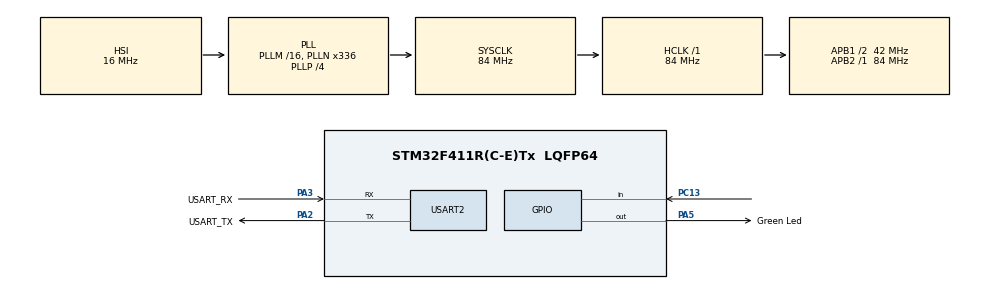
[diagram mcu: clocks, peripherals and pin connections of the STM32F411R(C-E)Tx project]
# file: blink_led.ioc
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Mcu.Family=STM32F4
Mcu.Name=STM32F411R(C-E)Tx
Mcu.Package=LQFP64
NVIC.PriorityGroup=NVIC_PRIORITYGROUP_0
PA13.GPIO_Label=TMS
PA13.Mode=Serial_Wire
PA13.Signal=SYS_JTMS-SWDIO
PA14.GPIO_Label=TCK
PA14.Mode=Serial_Wire
PA14.Signal=SYS_JTCK-SWCLK
PA2.GPIO_Label=USART_TX
PA2.Mode=Asynchronous
PA2.Signal=USART2_TX
PA3.GPIO_Label=USART_RX
PA3.Mode=Asynchronous
PA3.Signal=USART2_RX
PA5.GPIO_Label=Green Led
PA5.Signal=GPIO_Output
PB3.GPIO_Label=SWO
PB3.Signal=SYS_JTDO-SWO
PC13-ANTI_TAMP.Signal=GPIO_Input
PC14-OSC32_IN.Mode=LSE-External-Oscillator
PC14-OSC32_IN.Signal=RCC_OSC32_IN
PC15-OSC32_OUT.Mode=LSE-External-Oscillator
PC15-OSC32_OUT.Signal=RCC_OSC32_OUT
PH0\ -\ OSC_IN.Mode=HSE-External-Clock-Source
PH0\ -\ OSC_IN.Signal=RCC_OSC_IN
PH1\ -\ OSC_OUT.Mode=HSE-External-Clock-Source
PH1\ -\ OSC_OUT.Signal=RCC_OSC_OUT
ProjectManager.HeapSize=0x200
ProjectManager.StackSize=0x400
ProjectManager.TargetToolchain=STM32CubeIDE
RCC.48MHZClocksFreq_Value=84000000
RCC.AHBFreq_Value=84000000
RCC.APB1CLKDivider=RCC_HCLK_DIV2
RCC.APB1Freq_Value=42000000
RCC.APB1TimFreq_Value=84000000
RCC.APB2Freq_Value=84000000
RCC.APB2TimFreq_Value=84000000
RCC.CortexFreq_Value=84000000
RCC.FLatency-AdvancedSettings=FLASH_LATENCY_2
RCC.HCLKFreq_Value=84000000
RCC.HSE_VALUE=8000000
RCC.HSI_VALUE=16000000
RCC.PLLN=336
RCC.PLLP=RCC_PLLP_DIV4
RCC.SYSCLKFreq_VALUE=84000000
RCC.SYSCLKSource=RCC_SYSCLKSOURCE_PLLCLK
RCC.VCOOutputFreq_Value=336000000
USART2.VirtualMode=VM_ASYNC
board=NUCLEO-F411RE

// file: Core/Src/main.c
/* USER CODE BEGIN Header */
/**
  ******************************************************************************
  * @file           : main.c
  * @brief          : Main program body
  ******************************************************************************
  * @attention
  *
  * Copyright (c) 2026 STMicroelectronics.
  * All rights reserved.
  *
  * This software is licensed under terms that can be found in the LICENSE file
  * in the root directory of this software component.
  * If no LICENSE file comes with this software, it is provided AS-IS.
  *
  ******************************************************************************
  */
/* USER CODE END Header */
#include "main.h"
#include <stdio.h>
#include <string.h>
#include <stdarg.h>

UART_HandleTypeDef huart2;

/* USER CODE BEGIN PV */
char cumle[100] = "";
char mors_haznesi[10] = "";
uint32_t basma_an_ms = 0;
uint32_t birakma_an_ms = 0;
uint32_t basili_tutma_sure = 0;
int harf_eklendi = 0;
int kelime_eklendi = 0;

/* USER CODE END PV */

void SystemClock_Config(void);
static void MX_GPIO_Init(void);
static void MX_USART2_UART_Init(void);

/* USER CODE BEGIN 0 */
char mors_coz(char* semboller) {

    if (strcmp(semboller, ".-") == 0) return 'A';
    if (strcmp(semboller, "-...") == 0) return 'B';
    if (strcmp(semboller, "-.-.") == 0) return 'C';
    if (strcmp(semboller, "-..") == 0) return 'D';
    if (strcmp(semboller, ".") == 0) return 'E';
    if (strcmp(semboller, "..-.") == 0) return 'F';
    if (strcmp(semboller, "--.") == 0) return 'G';
    if (strcmp(semboller, "....") == 0) return 'H';
    if (strcmp(semboller, "..") == 0) return 'I';
    if (strcmp(semboller, ".---") == 0) return 'J';
    if (strcmp(semboller, "-.-") == 0) return 'K';
    if (strcmp(semboller, ".-..") == 0) return 'L';
    if (strcmp(semboller, "--") == 0) return 'M';
    if (strcmp(semboller, "-.") == 0) return 'N';
    if (strcmp(semboller, "---") == 0) return 'O';
    if (strcmp(semboller, ".--.") == 0) return 'P';
    if (strcmp(semboller, ".-.") == 0) return 'R';
    if (strcmp(semboller, "...") == 0) return 'S';
    if (strcmp(semboller, "-") == 0) return 'T';
    if (strcmp(semboller, "..-") == 0) return 'U';
    if (strcmp(semboller, "...-") == 0) return 'V';
    if (strcmp(semboller, "-.--") == 0) return 'Y';
    if (strcmp(semboller, "--..") == 0) return 'Z';

    return '?';
}

void uart_mesaj_gonder(char* format, ...) {
    char buf[128];
    va_list args;
    va_start(args, format);
    int len = vsnprintf(buf, sizeof(buf), format, args);
    HAL_UART_Transmit(&huart2, (uint8_t*)buf, len, 100);
    va_end(args);
}

/* USER CODE END 0 */

	int main(void)
	{

  /* MCU Configuration--------------------------------------------------------*/

  /* Reset of all peripherals, Initializes the Flash interface and the Systick. */
  HAL_Init();

  /* Configure the system clock */
  SystemClock_Config();

  /* Initialize all configured peripherals */
  MX_GPIO_Init();
  MX_USART2_UART_Init();

  /* Infinite loop */
  /* USER CODE BEGIN WHILE */
  while (1)
{

	      if (HAL_GPIO_ReadPin(GPIOC, GPIO_PIN_13) == GPIO_PIN_RESET)
	      {
	          basma_an_ms = HAL_GetTick();
	          HAL_GPIO_WritePin(GPIOA, GPIO_PIN_5, GPIO_PIN_SET);

	          while (HAL_GPIO_ReadPin(GPIOC, GPIO_PIN_13) == GPIO_PIN_RESET);

	          HAL_GPIO_WritePin(GPIOA, GPIO_PIN_5, GPIO_PIN_RESET);
	          birakma_an_ms = HAL_GetTick();
	          basili_tutma_sure = birakma_an_ms - basma_an_ms;

	          if (basili_tutma_sure < 500) {
	              strcat(mors_haznesi, ".");
	              uart_mesaj_gonder("[Sinyal: . | Sure: %lu ms]\r\n", basili_tutma_sure);
	          } else {
	              strcat(mors_haznesi, "-");
	              uart_mesaj_gonder("[Sinyal: - | Sure: %lu ms]\r\n", basili_tutma_sure);
	          }

	          harf_eklendi = 0; //yeni signal geldiginde, harf bekleme suresinin sifirlanmasi
	          kelime_eklendi = 0;
	          HAL_Delay(50);
	      }

	      uint32_t bosta_gecen = HAL_GetTick() - birakma_an_ms;

	      if (bosta_gecen > 3000 && birakma_an_ms != 0 && strlen(mors_haznesi) > 0 && !harf_eklendi)
	      {
	          char yeni_harf = mors_coz(mors_haznesi);
	          int len = strlen(cumle);
	          cumle[len] = yeni_harf;
	          cumle[len + 1] = '\0';

	          uart_mesaj_gonder("\r\n>> Harf Tamamlandi: %c (Mors: %s)\r\n", yeni_harf, mors_haznesi);
	          memset(mors_haznesi, 0, sizeof(mors_haznesi));
	          harf_eklendi = 1;
	      }

	      // 3. KELİME SONU KONTROLÜ (5 Saniye)
	      if (bosta_gecen > 1000 && birakma_an_ms != 0 && !kelime_eklendi && harf_eklendi)
	      {
	          strcat(cumle, " ");
	          uart_mesaj_gonder(">> Kelime Arasi: (Bosluk eklendi)\r\n");
	          kelime_eklendi = 1;
	      }

	      // 4. CÜMLE SONU VE YAZDIRMA (7 Saniye)
	      if (bosta_gecen > 7000 && birakma_an_ms != 0)
	      {
	          uart_mesaj_gonder("\r\n================================\r\n");
	          uart_mesaj_gonder("FINAL CUMLE: %s", cumle);
	          uart_mesaj_gonder("\r\n================================\r\n\r\n");

	          memset(cumle, 0, sizeof(cumle));
	          birakma_an_ms = 0; // Sistemi bekleme moduna al
	      }
    /* USER CODE END WHILE */

  }
}

void SystemClock_Config(void)
{
  RCC_OscInitTypeDef RCC_OscInitStruct = {0};
  RCC_ClkInitTypeDef RCC_ClkInitStruct = {0};

  /** Configure the main internal regulator output voltage
  */
  __HAL_RCC_PWR_CLK_ENABLE();
  __HAL_PWR_VOLTAGESCALING_CONFIG(PWR_REGULATOR_VOLTAGE_SCALE1);

  /** Initializes the RCC Oscillators according to the specified parameters
  * in the RCC_OscInitTypeDef structure.
  */
  RCC_OscInitStruct.OscillatorType = RCC_OSCILLATORTYPE_HSI;
  RCC_OscInitStruct.HSIState = RCC_HSI_ON;
  RCC_OscInitStruct.HSICalibrationValue = RCC_HSICALIBRATION_DEFAULT;
  RCC_OscInitStruct.PLL.PLLState = RCC_PLL_ON;
  RCC_OscInitStruct.PLL.PLLSource = RCC_PLLSOURCE_HSI;
  RCC_OscInitStruct.PLL.PLLM = 16;
  RCC_OscInitStruct.PLL.PLLN = 336;
  RCC_OscInitStruct.PLL.PLLP = RCC_PLLP_DIV4;
  RCC_OscInitStruct.PLL.PLLQ = 4;
  if (HAL_RCC_OscConfig(&RCC_OscInitStruct) != HAL_OK)
  {
    Error_Handler();
  }

  /** Initializes the CPU, AHB and APB buses clocks
  */
  RCC_ClkInitStruct.ClockType = RCC_CLOCKTYPE_HCLK|RCC_CLOCKTYPE_SYSCLK
                              |RCC_CLOCKTYPE_PCLK1|RCC_CLOCKTYPE_PCLK2;
  RCC_ClkInitStruct.SYSCLKSource = RCC_SYSCLKSOURCE_PLLCLK;
  RCC_ClkInitStruct.AHBCLKDivider = RCC_SYSCLK_DIV1;
  RCC_ClkInitStruct.APB1CLKDivider = RCC_HCLK_DIV2;
  RCC_ClkInitStruct.APB2CLKDivider = RCC_HCLK_DIV1;

  if (HAL_RCC_ClockConfig(&RCC_ClkInitStruct, FLASH_LATENCY_2) != HAL_OK)
  {
    Error_Handler();
  }
}

static void MX_USART2_UART_Init(void)
{

  huart2.Instance = USART2;
  huart2.Init.BaudRate = 115200;
  huart2.Init.WordLength = UART_WORDLENGTH_8B;
  huart2.Init.StopBits = UART_STOPBITS_1;
  huart2.Init.Parity = UART_PARITY_NONE;
  huart2.Init.Mode = UART_MODE_TX_RX;
  huart2.Init.HwFlowCtl = UART_HWCONTROL_NONE;
  huart2.Init.OverSampling = UART_OVERSAMPLING_16;
  if (HAL_UART_Init(&huart2) != HAL_OK)
  {
    Error_Handler();
  }

}

static void MX_GPIO_Init(void)
{
  GPIO_InitTypeDef GPIO_InitStruct = {0};

  /* GPIO Ports Clock Enable */
  __HAL_RCC_GPIOC_CLK_ENABLE();
  __HAL_RCC_GPIOH_CLK_ENABLE();
  __HAL_RCC_GPIOA_CLK_ENABLE();
  __HAL_RCC_GPIOB_CLK_ENABLE();

  /*Configure GPIO pin Output Level */
  HAL_GPIO_WritePin(Green_Led_GPIO_Port, Green_Led_Pin, GPIO_PIN_RESET);

  /*Configure GPIO pin : PC13 */
  GPIO_InitStruct.Pin = GPIO_PIN_13;
  GPIO_InitStruct.Mode = GPIO_MODE_INPUT;
  GPIO_InitStruct.Pull = GPIO_NOPULL;
  HAL_GPIO_Init(GPIOC, &GPIO_InitStruct);

  /*Configure GPIO pin : Green_Led_Pin */
  GPIO_InitStruct.Pin = Green_Led_Pin;
  GPIO_InitStruct.Mode = GPIO_MODE_OUTPUT_PP;
  GPIO_InitStruct.Pull = GPIO_NOPULL;
  GPIO_InitStruct.Speed = GPIO_SPEED_FREQ_LOW;
  HAL_GPIO_Init(Green_Led_GPIO_Port, &GPIO_InitStruct);

}

void Error_Handler(void)
{
  __disable_irq();
  while (1)
  {
  }
}
